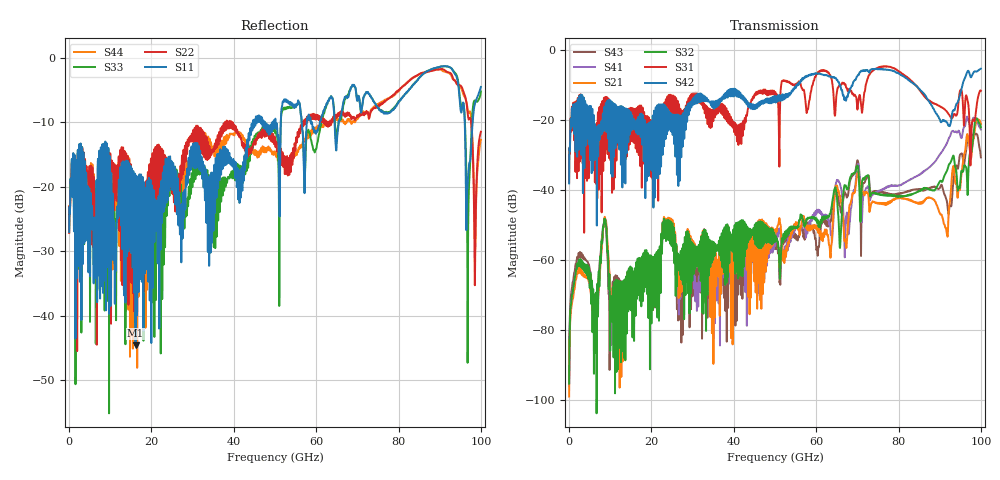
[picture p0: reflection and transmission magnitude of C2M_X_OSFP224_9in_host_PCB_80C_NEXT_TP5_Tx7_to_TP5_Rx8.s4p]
# GHz S RI R 45
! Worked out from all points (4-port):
!   4000 points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, 25 MHz to 100 GHz, reference 45 ohm
!   strongest paths, dB at 25 MHz, 25.02 GHz, 50.02 GHz, 75.03 GHz, 100 GHz:
!     S42: -38.1, -19.0, -13.2, -5.4, -5.3
!     S31: -37.8, -15.4, -12.1, -5.0, -11.6
!     S32: -95.3, -50.5, -54.4, -41.2, -22.1
!     S21: -98.9, -49.3, -53.2, -43.7, -21.1
!     S41: -95.9, -51.6, -55.9, -40.4, -22.7
!     S43: -93.6, -53.9, -56.8, -40.3, -30.7
!   lowest |S11| = -44.6 dB at 16.15 GHz (marker M1), VSWR 1.01, Z = 44.5 - j0.054 ohm
!   |S11| at or under -10 dB: start of sweep to 44.63 GHz; 58.96 GHz to 60.91 GHz (1.943 GHz wide, 3.24 % of centre); 96.08 GHz to 98 GHz (1.928 GHz wide, 1.99 % of centre)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
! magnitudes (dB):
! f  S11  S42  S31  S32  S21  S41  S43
! 25 MHz  -27.0  -38.1  -37.8  -95.3  -98.9  -95.9  -93.6
! 6.35 GHz  -25.1  -22.1  -29.0  -81.8  -81.6  -77.9  -73.1
! 8.675 GHz  -22.9  -18.6  -26.1  -48.3  -47.6  -47.8  -48.1
! 10.38 GHz  -23.8  -14.8  -21.3  -73.0  -72.4  -82.7  -70.1
! 16.15 GHz  -44.6  -20.9  -22.1  -75.9  -64.8  -66.8  -67.9
! 91.58 GHz  -1.4  -20.4  -17.4  -34.9  -51.1  -27.0  -42.5
! 100 GHz  -4.6  -5.3  -11.6  -22.1  -21.1  -22.7  -30.7
